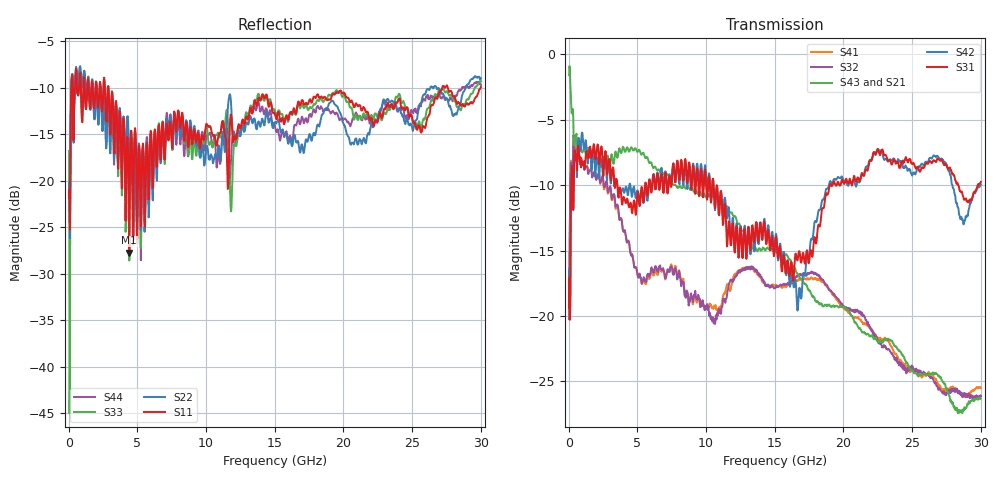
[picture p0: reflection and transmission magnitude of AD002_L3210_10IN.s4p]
! MS46524B
! 1918203/M1: 91020113/M2: 91020112
! 9/9/2020 2:33:02 PM
! C:\USERS\ANRITSUUSER\DESKTOP\2118 -10-2.S4P
! CHANNEL.1
! TR.MEASUREMENT
! CORRECTED.DATA
# GHZ S RI R 50.0
! FREQ.GHZ  S11RE  S11IM  S12RE  S12IM  S13RE  S13IM  S14RE  S14IM
!  S21RE  S21IM  S22RE  S22IM  S23RE  S23IM  S24RE  S24IM
!  S31RE  S31IM  S32RE  S32IM  S33RE  S33IM  S34RE  S34IM
!  S41RE  S41IM  S42RE  S42IM  S43RE  S43IM  S44RE  S44IM
!; PortSelection: Port_1234
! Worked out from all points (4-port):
!   1000 points, 30 MHz to 30 GHz, reference 50 ohm
!   strongest paths, dB at 30 MHz, 7.53 GHz, 15.03 GHz, 22.53 GHz, 30 GHz:
!     S31: -19.4, -9.3, -14.3, -7.3, -9.7
!     S42: -18.9, -9.2, -14.2, -7.3, -10.0
!     S43: -1.6, -9.8, -15.0, -22.0, -26.3
!     S21: -0.5, -9.9, -15.0, -22.0, -26.8
!     S32: -20.2, -16.4, -17.9, -21.9, -26.1
!     S41: -20.2, -16.4, -17.7, -21.8, -25.5
!   lowest |S11| = -27.7 dB at 4.41 GHz (marker M1), VSWR 1.09, Z = 46.9 - j2.45 ohm
!   |S11| at or under -10 dB: 1.161 GHz to 1.356 GHz (194.7 MHz wide, 15.5 % of centre); 2.89 GHz to 27.19 GHz (24.3 GHz wide, 162 % of centre); 27.59 GHz to 29.98 GHz (2.39 GHz wide, 8.3 % of centre)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
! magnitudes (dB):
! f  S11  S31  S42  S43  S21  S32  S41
! 30 MHz  -21.8  -19.4  -18.9  -1.6  -0.5  -20.2  -20.2
! 690 MHz  -10.8  -7.0  -6.5  -7.4  -7.4  -7.6  -7.6
! 4.41 GHz  -27.7  -11.7  -10.0  -7.4  -7.5  -14.5  -14.5
! 11.82 GHz  -13.0  -14.6  -14.5  -12.1  -12.1  -17.3  -17.8
! 16.77 GHz  -11.7  -15.0  -18.0  -16.9  -16.9  -16.9  -17.2
! 22.56 GHz  -13.0  -7.4  -7.3  -21.9  -22.1  -22.1  -21.7
! 30 GHz  -9.9  -9.7  -10.0  -26.3  -26.8  -26.1  -25.5
